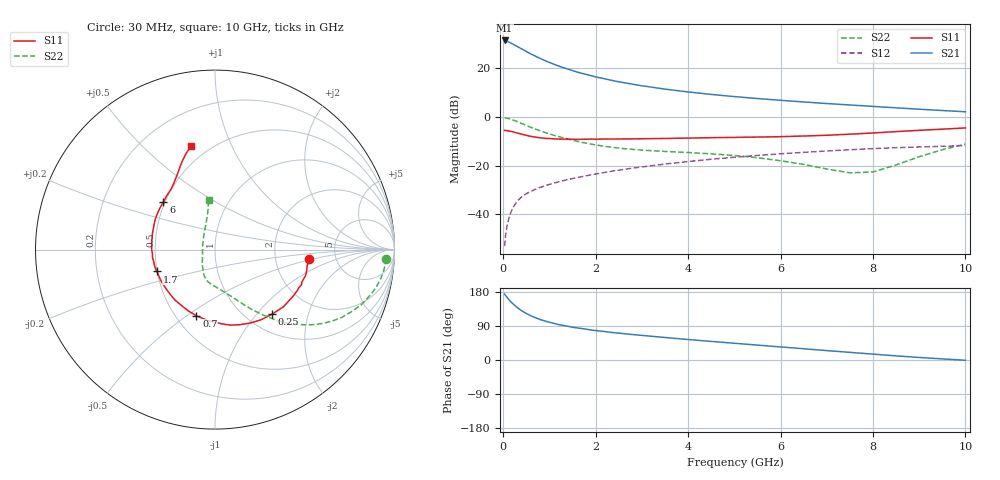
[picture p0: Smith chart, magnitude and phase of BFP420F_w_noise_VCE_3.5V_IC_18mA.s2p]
! Infineon Technologies  Discrete & RF Semiconductors
! BFP420F
! VCE =  3.5 V,  IC =  18 mA
! Common Emitter S-Parameters:  Sep 2011
# GHz  S  MA  R  50
!  f  S11  S21  S12  S22
! GHz  MAG  ANG  MAG  ANG  MAG  ANG  MAG  ANG
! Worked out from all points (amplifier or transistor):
!   54 points, 30 MHz to 10 GHz, reference 50 ohm
!   highest |S21| = 31.4 dB at 30 MHz (marker M1)
!   |S21| within 3 dB of that: start of sweep to 354.2 MHz
!   unconditionally stable (mu >= 1): 1.755 GHz to end of sweep
!   at 120 MHz: K = 0.30, MSG = 36.3 dB, |S12| = -41.8 dB
!   at 1.3 GHz: K = 0.88, MSG = 23.2 dB, |S12| = -26.2 dB
!   at 10 GHz: K = 1.24, MAG = 4.0 dB, |S12| = -11.8 dB
!   lowest NFmin = 1.47 dB at 900 MHz
!   S11 on the Smith chart (normalised r, x): 30 MHz: 3.16, -0.45; 250 MHz: 1.29, -1.21; 700 MHz: 0.63, -0.55; 1.7 GHz: 0.50, -0.14; 6 GHz: 0.49, +0.31; 10 GHz: 0.40, +0.71
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0.03  0.5274 -5.6  37.25 173.7  0.0022 76.4  0.9527 -3.0
0.07  0.5249 -14.8  36.32 167.4  0.0047 78.6  0.9455 -7.6
0.12  0.5131 -24.5  34.69 159.6  0.0081 77.0  0.9225 -13.0
0.15  0.5074 -30.4  33.47 155.6  0.01 76.5  0.9046 -15.9
0.2  0.4971 -39.8  31.67 149.6  0.013 73.9  0.8724 -20.5
0.25  0.4799 -48.7  29.79 143.9  0.0156 72.3  0.8357 -24.4
0.3  0.4672 -57.0  28.21 138.8  0.0182 69.9  0.8014 -28.1
0.35  0.4536 -64.6  26.51 134.2  0.0205 68.2  0.7645 -31.4
0.45  0.4295 -78.4  23.5 126.2  0.0245 65.4  0.698 -36.7
0.6  0.397 -95.9  19.63 116.6  0.0295 62.7  0.6076 -43.2
0.7  0.3833 -105.6  17.66 111.3  0.0327 61.8  0.5602 -46.5
0.9  0.3625 -121.5  14.38 103.0  0.0382 60.7  0.4791 -51.7
1.1  0.3533 -134.2  12.08 96.4  0.0436 60.3  0.4177 -56.2
1.5  0.3461 -152.9  8.959 86.4  0.054 60.1  0.3323 -63.6
1.7  0.3459 -159.4  7.874 83.0  0.0591 59.9  0.3004 -67.2
2.4  0.3496 -176.7  5.489 72.0  0.0777 58.6  0.2345 -79.7
3.5  0.3601 165.2  3.726 59.4  0.1072 54.9  0.1949 -95.6
5.5  0.3848 142.8  2.384 39.3  0.1612 44.3  0.1448 -116.7
6  0.392 137.1  2.192 34.5  0.1742 41.3  0.1252 -122.7
7  0.4189 125.2  1.882 24.8  0.1988 35.0  0.085 -145.3
8.5  0.4983 113.2  1.536 10.9  0.2327 24.7  0.1028 127.2
10  0.5927 103.0  1.275 -0.7  0.2565 15.5  0.2767 97.3
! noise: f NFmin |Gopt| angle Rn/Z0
0.45  1.49  0.14  179  0.11
0.9  1.47  0.15  176  0.13
1.9  1.6  0.24  -172  0.18
2.4  1.67  0.25  -168  0.12
3.5  1.9  0.27  -159  0.16
